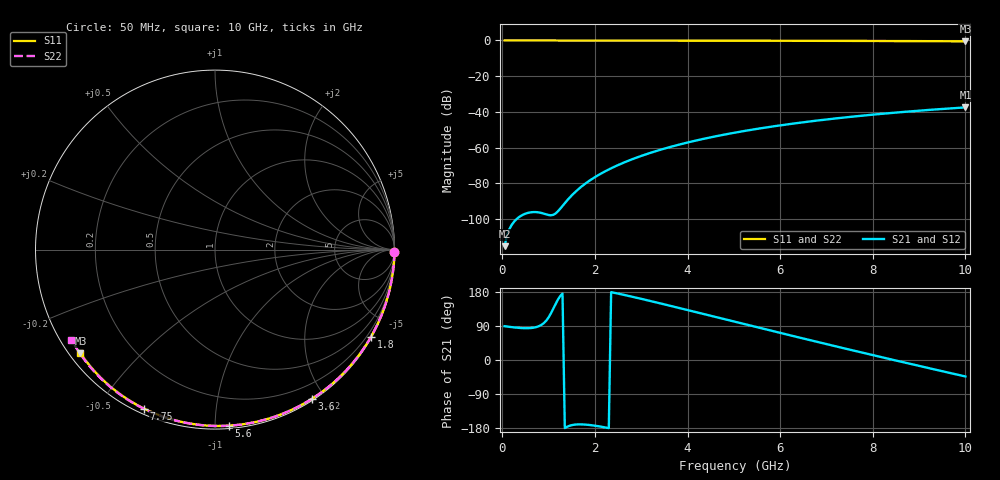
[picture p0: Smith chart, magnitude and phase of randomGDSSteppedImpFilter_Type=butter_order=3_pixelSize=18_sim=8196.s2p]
! freq	dB(S11)	phase(S11)	dB(S12)	phase(S12)
!  dB(S21)	phase(S21)	dB(S22)	phase(S22)
!S-par simulation data
#  GHz  S  DB  R 50
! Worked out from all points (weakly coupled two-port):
!   200 points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, 50 MHz to 10 GHz, reference 50 ohm
!   highest |S21| = -37.47 dB at 10 GHz (marker M1); lowest = -115.1 dB at 50 MHz (marker M2)
!   lowest |S11| = -0.5 dB at 10 GHz (marker M3), VSWR 36.15, Z = 1.54 - j17 ohm
!   |S11| at or under -10 dB: nowhere
!   |S22| runs from -0.5 to 0.0 dB; largest |S21 - S12| = 0
!   S11 on the Smith chart (normalised r, x): 50 MHz: open; 1.8 GHz: 0.03, -3.84; 3.6 GHz: 0.02, -1.84; 5.6 GHz: 0.02, -1.08; 7.75 GHz: 0.02, -0.65; 10 GHz: 0.03, -0.34
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0.05  -0.00 -0.8  -115.13 89.2  -115.13 89.2  -0.00 -0.9
0.45  -0.01 -7.4  -97.48 84.1  -97.48 84.1  -0.01 -7.7
0.9  -0.02 -14.7  -96.95 97.7  -96.95 97.7  -0.02 -15.3
1.75  -0.04 -28.4  -80.96 -170.1  -80.96 -170.1  -0.04 -29.4
1.8  -0.04 -29.2  -79.98 -170.5  -79.98 -170.5  -0.04 -30.2
1.95  -0.04 -31.5  -77.31 -172.5  -77.31 -172.5  -0.04 -32.7
2.1  -0.04 -33.9  -74.96 -175.3  -74.96 -175.3  -0.04 -35.1
2.3  -0.05 -37.0  -72.19 -179.8  -72.19 -179.8  -0.05 -38.4
2.5  -0.05 -40.2  -69.74 175.2  -69.74 175.2  -0.05 -41.6
2.9  -0.06 -46.3  -65.55 164.3  -65.55 164.3  -0.06 -48.0
3.4  -0.07 -53.9  -61.28 149.8  -61.28 149.8  -0.07 -55.9
3.6  -0.08 -56.9  -59.80 143.8  -59.80 143.8  -0.08 -59.0
4.3  -0.09 -67.2  -55.32 122.8  -55.32 122.8  -0.10 -69.6
5.05  -0.12 -78.0  -51.46 100.1  -51.46 100.1  -0.12 -80.7
5.6  -0.14 -85.6  -49.07 83.5  -49.07 83.5  -0.15 -88.6
6.15  -0.17 -93.1  -46.98 67.1  -46.98 67.1  -0.17 -96.3
6.7  -0.19 -100.4  -45.13 50.8  -45.13 50.8  -0.20 -103.9
7.2  -0.22 -106.9  -43.63 36.1  -43.63 36.1  -0.23 -110.7
7.75  -0.26 -114.0  -42.14 20.1  -42.14 20.1  -0.27 -118.1
8.35  -0.31 -121.7  -40.69 2.9  -40.69 2.9  -0.32 -126.1
9.2  -0.39 -132.4  -38.90 -21.2  -38.90 -21.2  -0.41 -137.3
10  -0.48 -142.4  -37.47 -43.5  -37.47 -43.5  -0.50 -147.9
